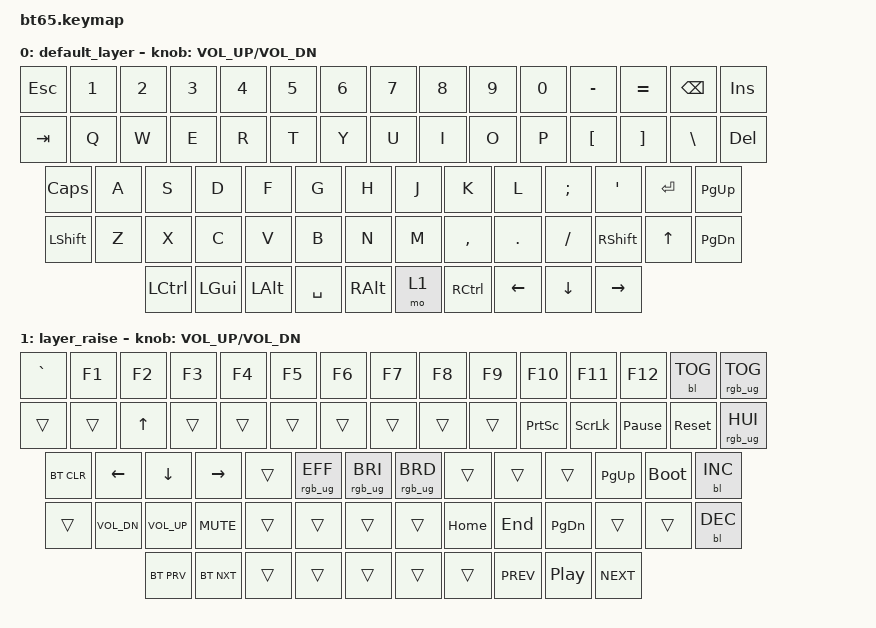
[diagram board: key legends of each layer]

/*
 * Copyright (c) 2020 The ZMK Contributors
 *
 * SPDX-License-Identifier: MIT
 */


/* THIS FILE WAS GENERATED!
 *
 * This file was generated automatically. You may or may not want to
 * edit it directly.
 */

#include <behaviors.dtsi>
#include <dt-bindings/zmk/keys.h>
#include <dt-bindings/zmk/bt.h>
#include <dt-bindings/zmk/rgb.h>
#include <dt-bindings/zmk/backlight.h>
#include <dt-bindings/zmk/ext_power.h>

&kscan0 {
    debounce-press-ms = <15>;
    debounce-release-ms = <15>;
};

/ {
	keymap {
		compatible = "zmk,keymap";

		default_layer {
			bindings = <

				&kp ESC &kp N1 &kp N2	&kp N3	 &kp N4	&kp N5			&kp N6	 &kp N7	 &kp N8	&kp N9	 &kp N0 &kp MINUS &kp EQUAL	&kp BSPC &kp INS
				&kp TAB &kp Q  &kp W  &kp E	 &kp R	 &kp T			 &kp Y	 &kp U	 &kp I	 &kp O	 &kp P	&kp LBKT	&kp RBKT	&kp BSLH &kp DEL
				&kp CLCK	 &kp A	 &kp S	 &kp D	 &kp F	 &kp G			 &kp H	 &kp J	 &kp K	 &kp L	&kp SEMI	&kp SQT	&kp RET &kp PG_UP
				&kp LSHFT	 &kp Z	 &kp X	 &kp C	 &kp V	 &kp B			 &kp N	 &kp M &kp COMMA	&kp DOT	&kp FSLH &kp RSHFT	 &kp UP &kp PG_DN
				&kp LCTRL &kp LGUI &kp LALT &kp SPACE &kp RALT			 &mo 1 &kp RCTRL	&kp LEFT &kp DOWN &kp RIGHT
			>;
			sensor-bindings = <&inc_dec_kp C_VOL_UP C_VOL_DN>;
		};

		layer_raise {
			bindings = <
 &kp GRAVE		&kp F1		&kp F2	 &kp F3 &kp F4 &kp F5			&kp F6 &kp F7	 &kp F8			&kp F9	 &kp F10	&kp F11		 &kp F12 &bl BL_TOG &rgb_ug RGB_TOG
	 &trans		&trans		&kp UP	 &trans &trans &trans			&trans &trans	 &trans			&trans	&kp PSCRN	&kp SLCK &kp PAUSE_BREAK	 &sys_reset &rgb_ug RGB_HUI
 &bt BT_CLR	 &kp LEFT	 &kp DOWN	&kp RIGHT &trans &rgb_ug RGB_EFF			&rgb_ug RGB_BRI &rgb_ug RGB_BRD	 &trans			&trans	 &trans &kp PG_UP	 &bootloader &bl BL_INC
	 &trans &kp C_VOL_DN &kp C_VOL_UP &kp C_MUTE &trans &trans			&trans &trans	&kp HOME			&kp END	&kp PG_DN	 &trans			&trans &bl BL_DEC
				&bt BT_PRV	&bt BT_NXT	 &trans &trans &trans			&trans &trans &kp C_PREV &kp C_PLAY_PAUSE &kp C_NEXT
			>;
			sensor-bindings = <&inc_dec_kp C_VOL_UP C_VOL_DN>;
		};
	};
};
